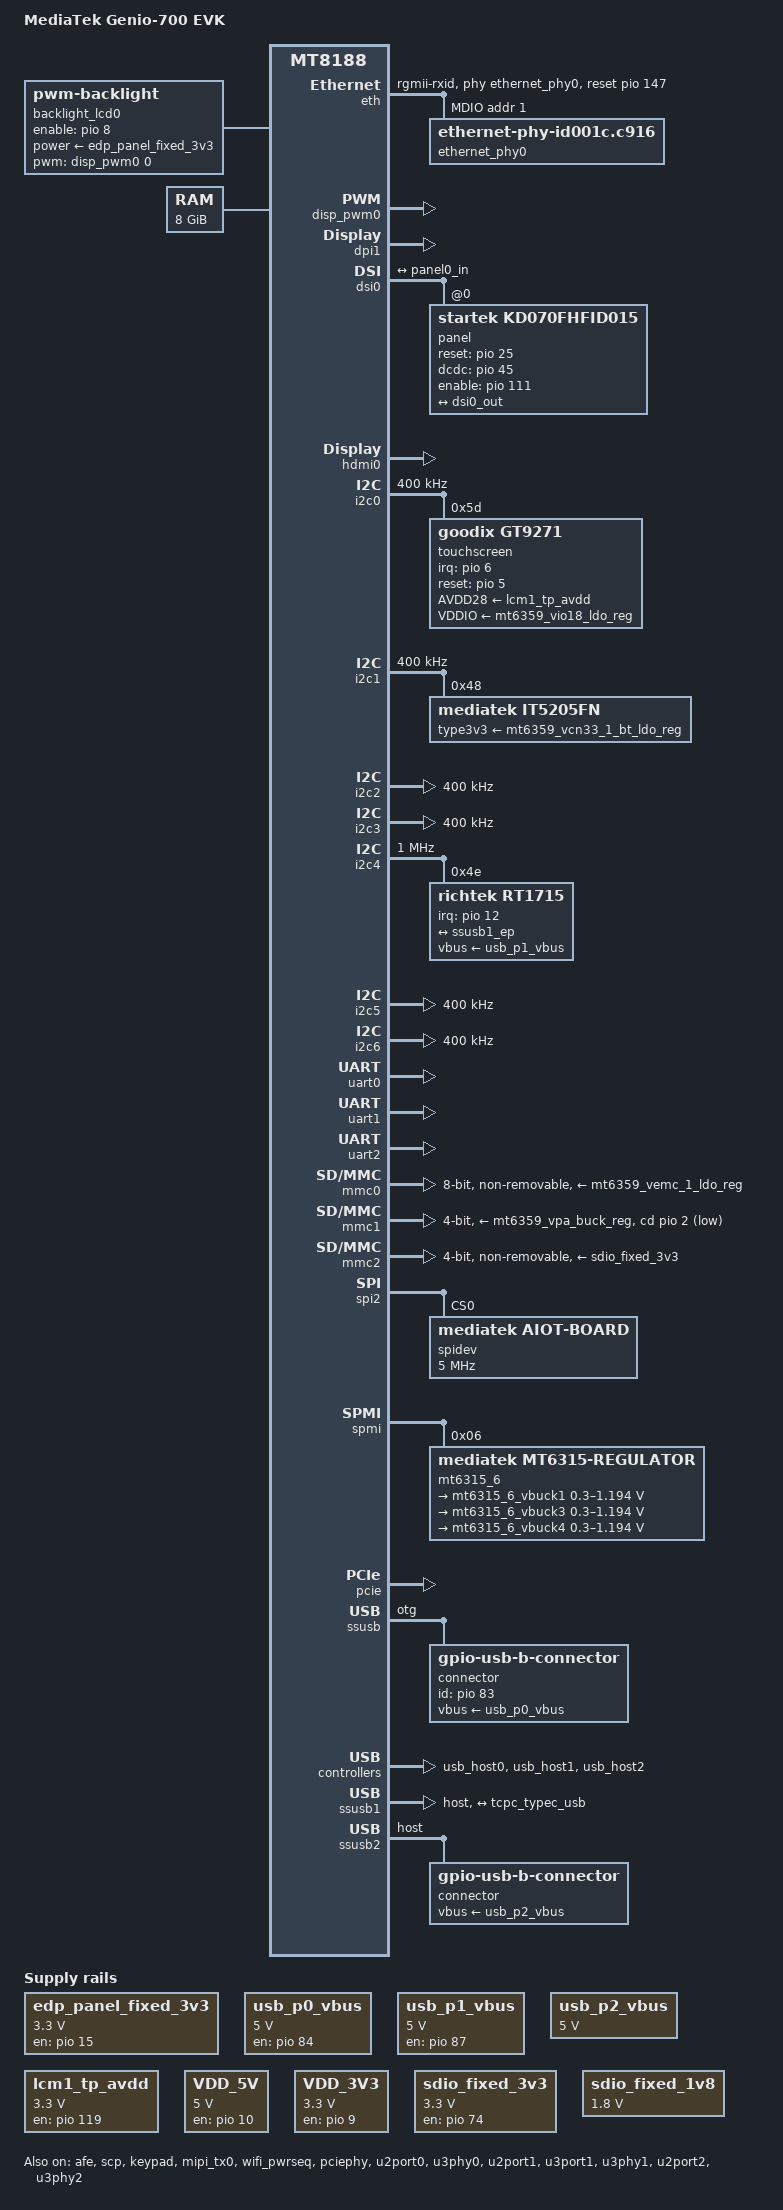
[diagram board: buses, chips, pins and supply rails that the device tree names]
// SPDX-License-Identifier: (GPL-2.0 OR MIT)
/*
 * Copyright (C) 2022 MediaTek Inc.
 * Author: Chris Chen <chris-qj.chen@mediatek.com>
 */
/dts-v1/;
#include "mt8188.dtsi"
#include "mt6359.dtsi"
#include <dt-bindings/gpio/gpio.h>
#include <dt-bindings/input/input.h>
#include <dt-bindings/interrupt-controller/irq.h>
#include <dt-bindings/pinctrl/mediatek,mt8188-pinfunc.h>
#include <dt-bindings/usb/pd.h>

/ {
	model = "MediaTek Genio-700 EVK";
	compatible = "mediatek,mt8390-evk", "mediatek,mt8188";

	aliases {
		serial0 = &uart0;
		dsi0 = &dsi0;
	};

	backlight_lcd0: backlight-lcd0 {
		compatible = "pwm-backlight";
		pwms = <&disp_pwm0 0 500000>;
		power-supply = <&edp_panel_fixed_3v3>;
		enable-gpios = <&pio 8 GPIO_ACTIVE_HIGH>;
		brightness-levels = <0 1023>;
		num-interpolated-steps = <1023>;
		default-brightness-level = <576>;
		default-on;
		enable-active-high;
	};

	chosen {
		stdout-path = "serial0:921600n8";
	};

	edp_panel_fixed_3v3: regulator@0 {
		compatible = "regulator-fixed";
		regulator-name = "edp_panel_3v3";
		regulator-min-microvolt = <3300000>;
		regulator-max-microvolt = <3300000>;
		enable-active-high;
		gpio = <&pio 15 GPIO_ACTIVE_HIGH>;
		pinctrl-names = "default";
		pinctrl-0 = <&edp_panel_3v3_en_pins>;
		regulator-always-on;

		regulator-state-mem {
			regulator-on-in-suspend;
		};
	};

	edp_panel: panel {
		compatible = "auo,g156han03";
		power-supply = <&edp_panel_fixed_3v3>;
		backlight = <&backlight_lcd0>;
		width-mm = <350>;
		height-mm = <216>;
		status = "disabled";

		port {
			panel_in: endpoint {
				remote-endpoint = <&edp_out>;
			};
		};
	};

	memory@40000000 {
		device_type = "memory";
		reg = <0 0x40000000 0x2 0x00000000>;
	};

	reserved-memory {
		#address-cells = <2>;
		#size-cells = <2>;
		ranges;

		apu_reserve_memory: apu-reserve-memory{
			compatible = "shared-dma-pool";
			size = <0 0x1400000>; //20 MB
			alignment = <0 0x10000>;
			reg = <0 0x55000000 0 0x1400000>;
		};

		vpu_reserve_memory: vpu-reserve-memory {
			compatible = "shared-dma-pool";
			size = <0 0x1400000>; //20 MB
			alignment = <0 0x10000>;
			reg = <0 0x57000000 0 0x1400000>;
		};

		/* global autoconfigured region for contiguous allocations */
		linux,cma {
			compatible = "shared-dma-pool";
			reusable;
			size = <0x00000000 0x0c000000>;
			linux,cma-default;
		};

		/* 12 MiB reserved for OP-TEE (BL32)
		 * +-----------------------+ 0x43e0_0000
		 * |      SHMEM 2MiB       |
		 * +-----------------------+ 0x43c0_0000
		 * |        | TA_RAM  8MiB |
		 * + TZDRAM +--------------+ 0x4340_0000
		 * |        | TEE_RAM 2MiB |
		 * +-----------------------+ 0x4320_0000
		 */
		optee_reserved: optee@43200000 {
			no-map;
			reg = <0 0x43200000 0 0x00c00000>;
		};

		scp_mem_reserved: scp-mem-region {
			compatible = "shared-dma-pool";
			reg = <0 0x50000000 0 0x2900000>;
			no-map;
		};

		/* 2 MiB reserved for ARM Trusted Firmware (BL31) */
		bl31_secmon_reserved: secmon@54600000 {
			no-map;
			reg = <0 0x54600000 0x0 0x200000>;
		};
	};

	firmware {
		optee {
			compatible = "linaro,optee-tz";
			method = "smc";
		};
	};

	usb_p0_vbus: usb0-otg-vbus {
		compatible = "regulator-fixed";
		regulator-name = "p0_vbus";
		regulator-min-microvolt = <5000000>;
		regulator-max-microvolt = <5000000>;
		gpio = <&pio 84 GPIO_ACTIVE_HIGH>;
		enable-active-high;
	};

	usb_p1_vbus: usb-p1-vbus {
		compatible = "regulator-fixed";
		regulator-name = "p1_vbus";
		regulator-min-microvolt = <5000000>;
		regulator-max-microvolt = <5000000>;
		gpio = <&pio 87 GPIO_ACTIVE_HIGH>;
		enable-active-high;
	};

	usb_p2_vbus: usb-p2-vbus {
		compatible = "regulator-fixed";
		regulator-name = "p2_vbus";
		regulator-min-microvolt = <5000000>;
		regulator-max-microvolt = <5000000>;
		enable-active-high;
	};

	lcm1_tp_avdd: lcm1-tp-avdd {
		compatible = "regulator-fixed";
		regulator-name = "lcm1-tp-avdd";
		regulator-min-microvolt = <3300000>;
		regulator-max-microvolt = <3300000>;
		gpio = <&pio 119 GPIO_ACTIVE_HIGH>;
		enable-active-high;
	};

	VDD_5V: VDD-5V {
		compatible = "regulator-fixed";
		regulator-name = "VDD-5V";
		regulator-min-microvolt = <5000000>;
		regulator-max-microvolt = <5000000>;
		gpio = <&pio 10 GPIO_ACTIVE_HIGH>;
		enable-active-high;
		regulator-always-on;
	};

	VDD_3V3: VDD-3V3 {
		compatible = "regulator-fixed";
		regulator-name = "VDD-3V3";
		regulator-min-microvolt = <3300000>;
		regulator-max-microvolt = <3300000>;
		gpio = <&pio 9 GPIO_ACTIVE_HIGH>;
		enable-active-high;
		regulator-always-on;
	};

	sdio_fixed_3v3: regulator@2 {
		compatible = "regulator-fixed";
		regulator-name = "sdio_card";
		regulator-min-microvolt = <3300000>;
		regulator-max-microvolt = <3300000>;
		gpio = <&pio 74 0>;
		enable-active-high;
		regulator-always-on;
	};

	sdio_fixed_1v8: regulator@3 {
		compatible = "regulator-fixed";
		regulator-name = "sdio_io";
		regulator-min-microvolt = <1800000>;
		regulator-max-microvolt = <1800000>;
		enable-active-high;
		regulator-always-on;
	};
};

&afe {
	#sound-dai-cells = <0>;
	mediatek,dmic-iir-on;
	mediatek,dmic-clk-mono;
	status = "okay";
};

&eth {
	phy-mode ="rgmii-rxid";
	phy-handle = <&ethernet_phy0>;
	snps,reset-gpio = <&pio 147 GPIO_ACTIVE_HIGH>;
	snps,reset-delay-us = <0 10000 10000>;
	mediatek,tx-delay-ps = <2030>;
	pinctrl-names = "default", "sleep";
	pinctrl-0 = <&eth_default_pins>;
	pinctrl-1 = <&eth_sleep_pins>;
	status = "okay";

	mdio {
		compatible = "snps,dwmac-mdio";
		#address-cells = <1>;
		#size-cells = <0>;
		ethernet_phy0: ethernet-phy@1 {
			compatible = "ethernet-phy-id001c.c916";
			reg = <0x1>;
		};
	};
};

&disp_pwm0 {
	status = "okay";
	pinctrl-names = "default";
	pinctrl-0 = <&disp_pwm0_pin_default>;
};

&dpi1 {
	status = "okay";
};

&dp_intf0 {
	status = "disabled";
	ports {
		port {
			dp_intf0_out: endpoint {
				remote-endpoint = <&edp_in>;
			};
		};
	};
};

&dp_intf1 {
	status = "disabled";
	mediatek,oob-hpd;
	ports {
		port {
			dp_intf1_out: endpoint {
				remote-endpoint = <&dptx_in>;
			};
		};
	};
};

&dp_tx {
	pinctrl-names = "default";
	pinctrl-0 = <&dptx_pin>;
	status = "disabled";

	ports {
		#address-cells = <1>;
		#size-cells = <0>;
		port {
			dptx_in: endpoint {
				remote-endpoint = <&dp_intf1_out>;
			};
		};
	};
};

&dsi0 {
	#address-cells = <1>;
	#size-cells = <0>;
	status = "okay";
	poweron-in-hs-mode = <0>;

	panel@0 {
		compatible = "startek,kd070fhfid015";
		status = "okay";
		reg = <0>;
		pinctrl-names = "default";
		pinctrl-0 = <&panel_pins_default>;
		reset-gpios = <&pio 25 GPIO_ACTIVE_HIGH>;
		dcdc-gpios = <&pio 45 GPIO_ACTIVE_HIGH>;
		enable-gpios = <&pio 111 GPIO_ACTIVE_HIGH>;
		port {
			panel0_in: endpoint {
				remote-endpoint = <&dsi0_out>;
			};
		};
	};

	ports {
		port {
			dsi0_out: endpoint {
				remote-endpoint = <&panel0_in>;
			};
		};
	};
};

&edp_tx {
	pinctrl-names = "default";
	pinctrl-0 = <&edp_pin>;
	status = "disabled";

	ports {
		#address-cells = <1>;
		#size-cells = <0>;

		port@0 {
			reg = <0>;
			edp_in: endpoint {
			remote-endpoint = <&dp_intf0_out>;
			};
		};

		port@1 {
			reg = <1>;
			edp_out: endpoint {
				remote-endpoint = <&panel_in>;
			};
		};
	};
};

&hdmi0 {
	status = "okay";
};

&pio {
	aud_pins_default: audiodefault {
		pins-cmd-dat {
			pinmux = <PINMUX_GPIO101__FUNC_O_AUD_CLK_MOSI>,
				 <PINMUX_GPIO102__FUNC_O_AUD_SYNC_MOSI>,
				 <PINMUX_GPIO103__FUNC_O_AUD_DAT_MOSI0>,
				 <PINMUX_GPIO104__FUNC_O_AUD_DAT_MOSI1>,
				 <PINMUX_GPIO105__FUNC_I0_AUD_DAT_MISO0>,
				 <PINMUX_GPIO106__FUNC_I0_AUD_DAT_MISO1>,
				 <PINMUX_GPIO107__FUNC_B0_I2SIN_MCK>,
				 <PINMUX_GPIO108__FUNC_B0_I2SIN_BCK>,
				 <PINMUX_GPIO109__FUNC_B0_I2SIN_WS>,
				 <PINMUX_GPIO110__FUNC_I0_I2SIN_D0>,
				 <PINMUX_GPIO114__FUNC_O_I2SO2_MCK>,
				 <PINMUX_GPIO115__FUNC_B0_I2SO2_BCK>,
				 <PINMUX_GPIO116__FUNC_B0_I2SO2_WS>,
				 <PINMUX_GPIO117__FUNC_O_I2SO2_D0>,
				 <PINMUX_GPIO118__FUNC_O_I2SO2_D1>,
				 <PINMUX_GPIO125__FUNC_O_DMIC1_CLK>,
				 <PINMUX_GPIO126__FUNC_I0_DMIC1_DAT>,
				 <PINMUX_GPIO128__FUNC_O_DMIC2_CLK>,
				 <PINMUX_GPIO129__FUNC_I0_DMIC2_DAT>,
				 <PINMUX_GPIO121__FUNC_B0_PCM_CLK>,
				 <PINMUX_GPIO122__FUNC_B0_PCM_SYNC>,
				 <PINMUX_GPIO124__FUNC_I0_PCM_DI>;
		};
	};

	disp_pwm0_pin_default: disp-pwm0-pin-default {
		pins1 {
			pinmux = <PINMUX_GPIO29__FUNC_O_DISP_PWM0>;
		};
	};

	edp_panel_3v3_en_pins: edp-panel-3v3-en-pins {
		pins1 {
			pinmux = <PINMUX_GPIO15__FUNC_B_GPIO15>;
			output-high;
		};
	};

	edp_pin: edp-pin-default {
		pins-cmd-dat {
			pinmux = <PINMUX_GPIO17__FUNC_I0_EDP_TX_HPD>;
			bias-pull-up;
		};
	};

	dptx_pin: dptx-pin {
		pins-cmd-dat {
			pinmux = <PINMUX_GPIO46__FUNC_I0_DP_TX_HPD>;
			bias-pull-up;
		};
	};

	eth_default_pins: eth-default-pins {
		pins-txd {
			pinmux = <PINMUX_GPIO131__FUNC_O_GBE_TXD3>,
				 <PINMUX_GPIO132__FUNC_O_GBE_TXD2>,
				 <PINMUX_GPIO133__FUNC_O_GBE_TXD1>,
				 <PINMUX_GPIO134__FUNC_O_GBE_TXD0>;
			drive-strength = <MTK_DRIVE_8mA>;
		};
		pins-cc {
			pinmux = <PINMUX_GPIO139__FUNC_B0_GBE_TXC>,
				 <PINMUX_GPIO142__FUNC_O_GBE_TXEN>,
				 <PINMUX_GPIO141__FUNC_I0_GBE_RXDV>,
				 <PINMUX_GPIO140__FUNC_I0_GBE_RXC>;
			drive-strength = <MTK_DRIVE_8mA>;
		};
		pins-rxd {
			pinmux = <PINMUX_GPIO135__FUNC_I0_GBE_RXD3>,
				 <PINMUX_GPIO136__FUNC_I0_GBE_RXD2>,
				 <PINMUX_GPIO137__FUNC_I0_GBE_RXD1>,
				 <PINMUX_GPIO138__FUNC_I0_GBE_RXD0>;
			drive-strength = <MTK_DRIVE_8mA>;
		};
		pins-mdio {
			pinmux = <PINMUX_GPIO143__FUNC_O_GBE_MDC>,
				 <PINMUX_GPIO144__FUNC_B1_GBE_MDIO>;
			drive-strength = <MTK_DRIVE_8mA>;
			input-enable;
		};
		pins-power {
			pinmux = <PINMUX_GPIO145__FUNC_B_GPIO145>,
				 <PINMUX_GPIO146__FUNC_B_GPIO146>;
			output-high;
		};
	};

	eth_sleep_pins: eth-sleep-pins {
		pins-txd {
			pinmux = <PINMUX_GPIO131__FUNC_B_GPIO131>,
				 <PINMUX_GPIO132__FUNC_B_GPIO132>,
				 <PINMUX_GPIO133__FUNC_B_GPIO133>,
				 <PINMUX_GPIO134__FUNC_B_GPIO134>;
		};
		pins-cc {
			pinmux = <PINMUX_GPIO139__FUNC_B_GPIO139>,
				 <PINMUX_GPIO142__FUNC_B_GPIO142>,
				 <PINMUX_GPIO141__FUNC_B_GPIO141>,
				 <PINMUX_GPIO140__FUNC_B_GPIO140>;
		};
		pins-rxd {
			pinmux = <PINMUX_GPIO135__FUNC_B_GPIO135>,
				 <PINMUX_GPIO136__FUNC_B_GPIO136>,
				 <PINMUX_GPIO137__FUNC_B_GPIO137>,
				 <PINMUX_GPIO138__FUNC_B_GPIO138>;
		};
		pins-mdio {
			pinmux = <PINMUX_GPIO143__FUNC_B_GPIO143>,
				 <PINMUX_GPIO144__FUNC_B_GPIO144>;
			input-disable;
			bias-disable;
		};
	};

	uart0_pins: uart0-pins {
		pins {
			pinmux = <PINMUX_GPIO31__FUNC_O_UTXD0>,
				 <PINMUX_GPIO32__FUNC_I1_URXD0>;
			bias-pull-up;
		};
	};

	uart1_pins: uart1-pins {
		pins {
			pinmux = <PINMUX_GPIO33__FUNC_O_UTXD1>,
				 <PINMUX_GPIO34__FUNC_I1_URXD1>;
			bias-pull-up;
		};
	};

	uart2_pins: uart2-pins {
		pins {
			pinmux = <PINMUX_GPIO35__FUNC_O_UTXD2>,
				 <PINMUX_GPIO36__FUNC_I1_URXD2>;
			bias-pull-up;
		};
	};

	i2c0_pin: i2c0-pin {
		pins-bus {
			pinmux = <PINMUX_GPIO56__FUNC_B1_SDA0>,
				 <PINMUX_GPIO55__FUNC_B1_SCL0>;
			bias-pull-up;
			mediatek,rsel = <MTK_PULL_SET_RSEL_111>;
			mediatek,drive-strength-adv = <7>;
		};
	};

	i2c1_pin: i2c1-pin {
		pins-bus {
			pinmux = <PINMUX_GPIO58__FUNC_B1_SDA1>,
				 <PINMUX_GPIO57__FUNC_B1_SCL1>;
			bias-pull-up;
			mediatek,rsel = <MTK_PULL_SET_RSEL_111>;
			mediatek,drive-strength-adv = <7>;
		};
	};

	i2c2_pin: i2c2-pin {
		pins-bus {
			pinmux = <PINMUX_GPIO60__FUNC_B1_SDA2>,
				 <PINMUX_GPIO59__FUNC_B1_SCL2>;
			bias-pull-up;
			mediatek,rsel = <MTK_PULL_SET_RSEL_111>;
			mediatek,drive-strength-adv = <7>;
		};
	};

	i2c3_pin: i2c3-pin {
		pins-bus {
			pinmux = <PINMUX_GPIO62__FUNC_B1_SDA3>,
				 <PINMUX_GPIO61__FUNC_B1_SCL3>;
			bias-pull-up;
			mediatek,rsel = <MTK_PULL_SET_RSEL_111>;
			mediatek,drive-strength-adv = <7>;
		};
	};

	i2c4_pin: i2c4-pin {
		pins-bus {
			pinmux = <PINMUX_GPIO64__FUNC_B1_SDA4>,
				 <PINMUX_GPIO63__FUNC_B1_SCL4>;
			bias-pull-up;
			mediatek,rsel = <MTK_PULL_SET_RSEL_111>;
			mediatek,drive-strength-adv = <7>;
		};
	};

	i2c5_pin: i2c5-pin {
		pins-bus {
			pinmux = <PINMUX_GPIO66__FUNC_B1_SDA5>,
				 <PINMUX_GPIO65__FUNC_B1_SCL5>;
			bias-pull-up;
			mediatek,rsel = <MTK_PULL_SET_RSEL_111>;
			mediatek,drive-strength-adv = <7>;
		};
	};

	i2c6_pin: i2c6-pin {
		pins-bus {
			pinmux = <PINMUX_GPIO68__FUNC_B1_SDA6>,
				 <PINMUX_GPIO67__FUNC_B1_SCL6>;
			bias-pull-up;
			mediatek,rsel = <MTK_PULL_SET_RSEL_111>;
			mediatek,drive-strength-adv = <7>;
		};
	};

	rt1715_int: rt1715_int_pin {
		pins_cmd0_dat {
			pinmux = <PINMUX_GPIO12__FUNC_B_GPIO12>;
			bias-pull-up;
			input-enable;
		};
	};

	kpd_gpios_def_cfg: keypad-pins-default {
		pins_kp {
			pinmux = <PINMUX_GPIO44__FUNC_B1_KPROW0>,
					<PINMUX_GPIO43__FUNC_B1_KPCOL1>,
					<PINMUX_GPIO42__FUNC_B1_KPCOL0>;
		};
	};

	panel_pins_default: panel-pins-default {
		panel-dcdc {
			pinmux = <PINMUX_GPIO45__FUNC_B_GPIO45>;
			output-low;
		};

		panel-en {
			pinmux = <PINMUX_GPIO111__FUNC_B_GPIO111>;
			output-low;
		};

		panel-rst {
			pinmux = <PINMUX_GPIO25__FUNC_B_GPIO25>;
			output-high;
		};
	};

	mmc0_pins_default: mmc0default {
		pins-cmd-dat {
			pinmux = <PINMUX_GPIO161__FUNC_B1_MSDC0_DAT0>,
				 <PINMUX_GPIO160__FUNC_B1_MSDC0_DAT1>,
				 <PINMUX_GPIO159__FUNC_B1_MSDC0_DAT2>,
				 <PINMUX_GPIO158__FUNC_B1_MSDC0_DAT3>,
				 <PINMUX_GPIO154__FUNC_B1_MSDC0_DAT4>,
				 <PINMUX_GPIO153__FUNC_B1_MSDC0_DAT5>,
				 <PINMUX_GPIO152__FUNC_B1_MSDC0_DAT6>,
				 <PINMUX_GPIO151__FUNC_B1_MSDC0_DAT7>,
				 <PINMUX_GPIO156__FUNC_B1_MSDC0_CMD>;
			input-enable;
			drive-strength = <MTK_DRIVE_6mA>;
			bias-pull-up = <MTK_PUPD_SET_R1R0_01>;
		};

		pins-clk {
			pinmux = <PINMUX_GPIO157__FUNC_B1_MSDC0_CLK>;
			drive-strength = <MTK_DRIVE_6mA>;
			bias-pull-down = <MTK_PUPD_SET_R1R0_10>;
		};

		pins-rst {
			pinmux = <PINMUX_GPIO155__FUNC_O_MSDC0_RSTB>;
			drive-strength = <MTK_DRIVE_6mA>;
			bias-pull-up = <MTK_PUPD_SET_R1R0_01>;
		};
	};

	mmc0_pins_uhs: mmc0uhs{
		pins-cmd-dat {
			pinmux = <PINMUX_GPIO161__FUNC_B1_MSDC0_DAT0>,
				 <PINMUX_GPIO160__FUNC_B1_MSDC0_DAT1>,
				 <PINMUX_GPIO159__FUNC_B1_MSDC0_DAT2>,
				 <PINMUX_GPIO158__FUNC_B1_MSDC0_DAT3>,
				 <PINMUX_GPIO154__FUNC_B1_MSDC0_DAT4>,
				 <PINMUX_GPIO153__FUNC_B1_MSDC0_DAT5>,
				 <PINMUX_GPIO152__FUNC_B1_MSDC0_DAT6>,
				 <PINMUX_GPIO151__FUNC_B1_MSDC0_DAT7>,
				 <PINMUX_GPIO156__FUNC_B1_MSDC0_CMD>;
			input-enable;
			drive-strength = <MTK_DRIVE_8mA>;
			bias-pull-up = <MTK_PUPD_SET_R1R0_01>;
		};

		pins-clk {
			pinmux = <PINMUX_GPIO157__FUNC_B1_MSDC0_CLK>;
			drive-strength = <MTK_DRIVE_8mA>;
			bias-pull-down = <MTK_PUPD_SET_R1R0_10>;
		};

		pins-ds {
			pinmux = <PINMUX_GPIO162__FUNC_B0_MSDC0_DSL>;
			drive-strength = <MTK_DRIVE_8mA>;
			bias-pull-down = <MTK_PUPD_SET_R1R0_10>;
		};

		pins-rst {
			pinmux = <PINMUX_GPIO155__FUNC_O_MSDC0_RSTB>;
			drive-strength = <MTK_DRIVE_8mA>;
			bias-pull-up = <MTK_PUPD_SET_R1R0_01>;
		};
	};

	mmc1_pins_default: mmc1default {
		pins-cmd-dat {
			pinmux = <PINMUX_GPIO163__FUNC_B1_MSDC1_CMD>,
				 <PINMUX_GPIO165__FUNC_B1_MSDC1_DAT0>,
				 <PINMUX_GPIO166__FUNC_B1_MSDC1_DAT1>,
				 <PINMUX_GPIO167__FUNC_B1_MSDC1_DAT2>,
				 <PINMUX_GPIO168__FUNC_B1_MSDC1_DAT3>;
			input-enable;
			drive-strength = <MTK_DRIVE_6mA>;
			bias-pull-up = <MTK_PUPD_SET_R1R0_01>;
		};

		pins-clk {
			pinmux = <PINMUX_GPIO164__FUNC_B1_MSDC1_CLK>;
			drive-strength = <MTK_DRIVE_6mA>;
			bias-pull-down = <MTK_PUPD_SET_R1R0_10>;
		};

		pins-insert {
			pinmux = <PINMUX_GPIO2__FUNC_B_GPIO2>;
			bias-pull-up;
		};
	};

	mmc1_pins_uhs: mmc1uhs {
		pins-cmd-dat {
			pinmux = <PINMUX_GPIO163__FUNC_B1_MSDC1_CMD>,
				 <PINMUX_GPIO165__FUNC_B1_MSDC1_DAT0>,
				 <PINMUX_GPIO166__FUNC_B1_MSDC1_DAT1>,
				 <PINMUX_GPIO167__FUNC_B1_MSDC1_DAT2>,
				 <PINMUX_GPIO168__FUNC_B1_MSDC1_DAT3>;
			input-enable;
			drive-strength = <MTK_DRIVE_6mA>;
			bias-pull-up = <MTK_PUPD_SET_R1R0_01>;
		};

		pins-clk {
			pinmux = <PINMUX_GPIO164__FUNC_B1_MSDC1_CLK>;
			drive-strength = <MTK_DRIVE_6mA>;
			bias-pull-down = <MTK_PUPD_SET_R1R0_10>;
		};
	};

	mmc2_pins_default: mmc2default {
		pins-clk {
			pinmux = <PINMUX_GPIO170__FUNC_B1_MSDC2_CLK>;
			drive-strength = <MTK_DRIVE_4mA>;
			bias-pull-down = <MTK_PUPD_SET_R1R0_10>;
		};

		pins-cmd-dat {
			pinmux = <PINMUX_GPIO169__FUNC_B1_MSDC2_CMD>,
				 <PINMUX_GPIO171__FUNC_B1_MSDC2_DAT0>,
				 <PINMUX_GPIO172__FUNC_B1_MSDC2_DAT1>,
				 <PINMUX_GPIO173__FUNC_B1_MSDC2_DAT2>,
				 <PINMUX_GPIO174__FUNC_B1_MSDC2_DAT3>;
			input-enable;
			drive-strength = <MTK_DRIVE_6mA>;
			bias-pull-up = <MTK_PUPD_SET_R1R0_01>;
		};

		pins-pcm {
			pinmux = <PINMUX_GPIO123__FUNC_O_PCM_DO>;
		};
	};

	mmc2_pins_uhs: mmc2uhs {
		pins-clk {
			pinmux = <PINMUX_GPIO170__FUNC_B1_MSDC2_CLK>;
			drive-strength = <MTK_DRIVE_4mA>;
			bias-pull-down = <MTK_PUPD_SET_R1R0_10>;
		};

		pins-cmd-dat {
			pinmux = <PINMUX_GPIO169__FUNC_B1_MSDC2_CMD>,
				 <PINMUX_GPIO171__FUNC_B1_MSDC2_DAT0>,
				 <PINMUX_GPIO172__FUNC_B1_MSDC2_DAT1>,
				 <PINMUX_GPIO173__FUNC_B1_MSDC2_DAT2>,
				 <PINMUX_GPIO174__FUNC_B1_MSDC2_DAT3>;
			input-enable;
			drive-strength = <MTK_DRIVE_6mA>;
			bias-pull-up = <MTK_PUPD_SET_R1R0_01>;
		};
	};

	mmc2_pins_eint: dat1-eint {
		pins-dat1 {
			pinmux = <PINMUX_GPIO172__FUNC_B_GPIO172>;
			input-enable;
			bias-pull-up = <MTK_PUPD_SET_R1R0_01>;
		};
	};

	mmc2_pins_dat1: sdio-dat1 {
		pins-dat1 {
			pinmux = <PINMUX_GPIO172__FUNC_B1_MSDC2_DAT1>;
			input-enable;
			drive-strength = <MTK_DRIVE_6mA>;
			bias-pull-up = <MTK_PUPD_SET_R1R0_01>;
		};
	};

	wifi_pins_pwrseq: wifipwrseq {
		pins-wifi-enable {
			pinmux = <PINMUX_GPIO127__FUNC_B_GPIO127>;
			output-low;
		};
	};

	spi0_pins: spi0-pins {
		pins-spi {
			pinmux = <PINMUX_GPIO69__FUNC_O_SPIM0_CSB>,
				<PINMUX_GPIO70__FUNC_O_SPIM0_CLK>,
				<PINMUX_GPIO71__FUNC_B0_SPIM0_MOSI>,
				<PINMUX_GPIO72__FUNC_B0_SPIM0_MISO>;
			bias-disable;
		};
	};

	spi1_pins: spi1-pins {
		pins-spi {
			pinmux = <PINMUX_GPIO75__FUNC_O_SPIM1_CSB>,
				<PINMUX_GPIO76__FUNC_O_SPIM1_CLK>,
				<PINMUX_GPIO77__FUNC_B0_SPIM1_MOSI>,
				<PINMUX_GPIO78__FUNC_B0_SPIM1_MISO>;
			bias-disable;
		};
	};

	spi2_pins: spi2-pins {
		pins-spi {
			pinmux = <PINMUX_GPIO79__FUNC_O_SPIM2_CSB>,
				<PINMUX_GPIO80__FUNC_O_SPIM2_CLK>,
				<PINMUX_GPIO81__FUNC_B0_SPIM2_MOSI>,
				<PINMUX_GPIO82__FUNC_B0_SPIM2_MISO>;
			bias-disable;
		};
	};

	pcie_pins_default: pcie-default {
		mux {
			pinmux = <PINMUX_GPIO47__FUNC_I1_WAKEN>,
				 <PINMUX_GPIO48__FUNC_O_PERSTN>,
				 <PINMUX_GPIO49__FUNC_B1_CLKREQN>;
			bias-pull-up;
		};
	};

	usb_default: usbdefault {
		iddig-pin {
			pinmux = <PINMUX_GPIO83__FUNC_B_GPIO83>;
			input-enable;
			bias-pull-up;
		};

		vbus-pins {
			pinmux = <PINMUX_GPIO84__FUNC_O_USB_DRVVBUS>;
			output-high;
		};

		valid-pin {
			pinmux = <PINMUX_GPIO85__FUNC_I0_VBUSVALID>;
			input-enable;
		};
	};

	usb1_default: usbp1default {
		valid_pin {
			pinmux = <PINMUX_GPIO88__FUNC_I0_VBUSVALID_1P>;
			input-enable;
		};

		usb-hub-3v3-en-pin {
			pinmux = <PINMUX_GPIO112__FUNC_B_GPIO112>;
			output-high;
		};
	};

	touch_pins: touchdefault {
		touch_pin_irq: pin-irq {
			pinmux = <PINMUX_GPIO6__FUNC_B_GPIO6>;
			input-enable;
			bias-disable;
		};

		touch_pin_reset: pin-reset {
			pinmux = <PINMUX_GPIO5__FUNC_B_GPIO5>;
			output-high;
		};
	};
};

&i2c0 {
	pinctrl-names = "default";
	pinctrl-0 = <&i2c0_pin>;
	clock-frequency = <400000>;
	status = "okay";
	touchscreen@5d {
		compatible = "goodix,gt9271";
		reg = <0x5d>;
		interrupt-parent = <&pio>;
		interrupts = <6 IRQ_TYPE_EDGE_RISING>;
		irq-gpios = <&pio 6 GPIO_ACTIVE_HIGH>;
		reset-gpios = <&pio 5 GPIO_ACTIVE_HIGH>;
		AVDD28-supply = <&lcm1_tp_avdd>;
		VDDIO-supply = <&mt6359_vio18_ldo_reg>;
		pinctrl-names = "default";
		pinctrl-0 = <&touch_pins>;
	};
};

&i2c1 {
	pinctrl-names = "default";
	pinctrl-0 = <&i2c1_pin>;
	clock-frequency = <400000>;
	status = "okay";

	it5205fn: it5205fn@48 {
		compatible = "mediatek,it5205fn";
		reg = <0x48>;
		type3v3-supply = <&mt6359_vcn33_1_bt_ldo_reg>;
		svid = /bits/ 16 <0xff01>;
		status = "okay";
	};
};

&i2c2 {
	pinctrl-names = "default";
	pinctrl-0 = <&i2c2_pin>;
	clock-frequency = <400000>;
	status = "okay";
};

&i2c3 {
	pinctrl-names = "default";
	pinctrl-0 = <&i2c3_pin>;
	clock-frequency = <400000>;
	status = "okay";
};

&i2c4 {
	pinctrl-names = "default", "default";
	pinctrl-0 = <&i2c4_pin>;
	pinctrl-1 = <&rt1715_int>;
	clock-frequency = <1000000>;
	status = "okay";

	rt1715@4e {
		compatible = "richtek,rt1715";
		reg = <0x4e>;
		interrupts-extended = <&pio 12 IRQ_TYPE_LEVEL_LOW>;
		vbus-supply = <&usb_p1_vbus>;
		status = "okay";

		usb_con: connector {
			compatible = "usb-c-connector";
			label = "USB-C";
			data-role = "dual";
			power-role = "dual";
			try-power-role = "sink";
			source-pdos = <PDO_FIXED(5000, 2000, PDO_FIXED_DUAL_ROLE |
							PDO_FIXED_DATA_SWAP)>;
			sink-pdos = <PDO_FIXED(5000, 2000, PDO_FIXED_DUAL_ROLE |
							PDO_FIXED_DATA_SWAP)>;
			op-sink-microwatt = <10000000>;
			orientation-switch = <&it5205fn>;
			mode-switch = <&it5205fn>;
			displayport = <&dp_intf1>;

			altmodes {
				dp {
					svid = <0x0ff01>;
					vdo = <0x1c1c47>;
				};
			};

			ports {
				#address-cells = <1>;
				#size-cells = <0>;

				port@0 {
					reg = <0>;
					tcpc_typec_usb: endpoint {
							remote-endpoint = <&ssusb1_ep>;
					};
				};
			};
		};
	};
};

&i2c5 {
	pinctrl-names = "default";
	pinctrl-0 = <&i2c5_pin>;
	clock-frequency = <400000>;
	status = "okay";
};

&i2c6 {
	pinctrl-names = "default";
	pinctrl-0 = <&i2c6_pin>;
	clock-frequency = <400000>;
	status = "okay";
};

&pmic {
	interrupt-parent = <&pio>;
	interrupts = <222 IRQ_TYPE_LEVEL_HIGH>;

	pmic_key: pmic-key {
		compatible = "mediatek,mt6359-keys";
		mediatek,long-press-mode = <1>;
		power-off-time-sec = <0>;

		power-key{
			linux,keycodes = <116>;
			wakeup-source;
		};

		home-key{
			linux,keycodes = <114>;
		};
	};
};

&scp {
	memory-region = <&scp_mem_reserved>;
	status = "okay";
};

&keypad {
	mediatek,debounce-us = <32000>;
	mediatek,double-keys;
	keypad,num-rows = <1>;
	keypad,num-columns = <2>;
	linux,keymap =
		<MATRIX_KEY(0x00, 0x00, KEY_VOLUMEDOWN)
		 MATRIX_KEY(0x00, 0x01, KEY_VOLUMEUP)>;
	status = "okay";
	pinctrl-names = "default";
	pinctrl-0 = <&kpd_gpios_def_cfg>;
};

&mt6359codec {
	mediatek,mic-type-0 = <1>; /* ACC */
	mediatek,mic-type-1 = <3>; /* DCC */
};

&mt6359_vbbck_ldo_reg {
	regulator-always-on;
};

&mt6359_vcn33_2_bt_ldo_reg {
	regulator-always-on;
};

&mt6359_vcore_buck_reg {
	regulator-always-on;
};

&mt6359_vgpu11_buck_reg {
	regulator-always-on;
};

&mt6359_vpu_buck_reg {
	regulator-always-on;
};

&mt6359_vrf12_ldo_reg {
	regulator-always-on;
};

&mt6359_vufs_ldo_reg {
	regulator-always-on;
};

&uart0 {
	pinctrl-0 = <&uart0_pins>;
	pinctrl-names = "default";
	status = "okay";
};

&uart1 {
	pinctrl-0 = <&uart1_pins>;
	pinctrl-names = "default";
	status = "okay";
};

&uart2 {
	pinctrl-0 = <&uart2_pins>;
	pinctrl-names = "default";
	status = "okay";
};

&mipi_tx0 {
	status = "okay";
};

&mmc0 {
	status = "okay";
	pinctrl-names = "default", "state_uhs";
	pinctrl-0 = <&mmc0_pins_default>;
	pinctrl-1 = <&mmc0_pins_uhs>;
	bus-width = <8>;
	max-frequency = <200000000>;
	cap-mmc-highspeed;
	mmc-hs200-1_8v;
	mmc-hs400-1_8v;
	supports-cqe;
	cap-mmc-hw-reset;
	no-sdio;
	no-sd;
	hs400-ds-delay = <0x1481b>;
	vmmc-supply = <&mt6359_vemc_1_ldo_reg>;
	vqmmc-supply = <&mt6359_vufs_ldo_reg>;
	non-removable;
};

&mmc1 {
	status = "okay";
	pinctrl-names = "default", "state_uhs";
	pinctrl-0 = <&mmc1_pins_default>;
	pinctrl-1 = <&mmc1_pins_uhs>;
	bus-width = <4>;
	max-frequency = <200000000>;
	cap-sd-highspeed;
	sd-uhs-sdr50;
	sd-uhs-sdr104;
	no-mmc;
	no-sdio;
	cd-gpios = <&pio 2 GPIO_ACTIVE_LOW>;
	vmmc-supply = <&mt6359_vpa_buck_reg>;
	vqmmc-supply = <&mt6359_vsim1_ldo_reg>;
};

&wifi_pwrseq {
	status = "okay";
	pinctrl-names = "default";
	pinctrl-0 = <&wifi_pins_pwrseq>;

	reset-gpios = <&pio 127 1>;
	post-power-on-delay-ms = <200>;
};

&mmc2 {
	status = "okay";
	pinctrl-names = "default", "state_uhs", "state_eint",
					"state_dat1";
	pinctrl-0 = <&mmc2_pins_default>;
	pinctrl-1 = <&mmc2_pins_uhs>;
	pinctrl-2 = <&mmc2_pins_eint>;
	pinctrl-3 = <&mmc2_pins_dat1>;
	eint-gpios = <&pio 172 0>;
	bus-width = <4>;
	max-frequency = <200000000>;
	cap-sd-highspeed;
	sd-uhs-sdr104;
	keep-power-in-suspend;
	enable-sdio-wakeup;
	cap-sdio-async-int;
	cap-sdio-irq;
	no-mmc;
	no-sd;
	non-removable;
	vmmc-supply = <&sdio_fixed_3v3>;
	vqmmc-supply = <&sdio_fixed_1v8>;
	mmc-pwrseq = <&wifi_pwrseq>;
};

&mt6359_vcn18_ldo_reg {
	regulator-always-on;
};

&spi2 {
	pinctrl-0 = <&spi2_pins>;
	pinctrl-names = "default";
	mediatek,pad-select = <0>;
	#address-cells = <1>;
	#size-cells = <0>;
	status = "okay";

	spidev@0 {
		compatible = "mediatek,aiot-board";
		spi-max-frequency = <5000000>;
		reg = <0>;
	};
};

&spmi {
	mt6315_6: mt6315@6 {
		compatible = "mediatek,mt6315-regulator";
		reg = <0x6 0 0xb 1>;

		regulators {
			mt6315_6_vbuck1: vbuck1 {
				regulator-compatible = "vbuck1";
				regulator-name = "Vbcpu";
				regulator-min-microvolt = <300000>;
				regulator-max-microvolt = <1193750>;
				regulator-enable-ramp-delay = <256>;
				regulator-allowed-modes = <0 1 2>;
				regulator-always-on;
				mtk,combined-regulator = <2>;
			};
			mt6315_6_vbuck3: vbuck3 {
				regulator-compatible = "vbuck3";
				regulator-name = "Vdd2";
				regulator-min-microvolt = <300000>;
				regulator-max-microvolt = <1193750>;
				regulator-enable-ramp-delay = <256>;
				regulator-allowed-modes = <0 1 2>;
				regulator-always-on;
			};
			mt6315_6_vbuck4: vbuck4 {
				regulator-compatible = "vbuck4";
				regulator-name = "Vddq";
				regulator-min-microvolt = <300000>;
				regulator-max-microvolt = <1193750>;
				regulator-enable-ramp-delay = <256>;
				regulator-allowed-modes = <0 1 2>;
				regulator-always-on;
			};
		};
	};
};

&pcie {
	pinctrl-names = "default";
	pinctrl-0 = <&pcie_pins_default>;
	status = "okay";
};

&pciephy {
	status = "okay";
};

&ssusb {
	pinctrl-0 = <&usb_default>;
	pinctrl-names = "default";
	maximum-speed = "high-speed";
	usb-role-switch;
	dr_mode = "otg";
	vusb33-supply = <&mt6359_vusb_ldo_reg>;
	status = "okay";
	wakeup-source;

	connector {
		compatible = "gpio-usb-b-connector", "usb-b-connector";
		type = "micro";
		id-gpios = <&pio 83 GPIO_ACTIVE_HIGH>;
		vbus-supply = <&usb_p0_vbus>;
	};
};

&u2port0 {
	status = "okay";
};

&u3phy0 {
	status = "okay";
};

&usb_host0 {
	status = "okay";
	vusb33-supply = <&mt6359_vusb_ldo_reg>;
};

&ssusb1 {
	pinctrl-0 = <&usb1_default>;
	pinctrl-names = "default";
	vusb33-supply = <&mt6359_vusb_ldo_reg>;
	dr_mode = "host";
	mediatek,usb3-drd;
	usb-role-switch;
	status = "okay";
	wakeup-source;

	port {
		ssusb1_ep: endpoint {
			remote-endpoint = <&tcpc_typec_usb>;
		};
	};
};

&u2port1 {
	status = "okay";
};

&u3port1 {
	status = "okay";
};

&u3phy1 {
	status = "okay";
};

&usb_host1 {
	status = "okay";
	vusb33-supply = <&mt6359_vusb_ldo_reg>;
};

&ssusb2 {
	maximum-speed = "high-speed";
	usb-role-switch;
	dr_mode = "host";
	vusb33-supply = <&mt6359_vusb_ldo_reg>;
	status = "okay";
	wakeup-source;

	connector {
		compatible = "gpio-usb-b-connector", "usb-b-connector";
		type = "micro";
		vbus-supply = <&usb_p2_vbus>;
	};
};

&u2port2 {
	status = "okay";
};

&u3phy2 {
	status = "okay";
};

&usb_host2 {
	status = "okay";
	vusb33-supply = <&mt6359_vusb_ldo_reg>;
};

&mfg0 {
	domain-supply = <&mt6359_vproc2_buck_reg>;
};

&mt6359_vmodem_buck_reg {
	regulator-always-on;
};

&mt6359_vsram_md_ldo_reg {
	regulator-always-on;
};

&sound {
	compatible = "mediatek,mt8390-evk";
	model = "mt8390-evk";
	pinctrl-names = "default";
	pinctrl-0 = <&aud_pins_default>;
	audio-routing =
		"Headphone", "Headphone L",
		"Headphone", "Headphone R",
		"AIN1", "Headset Mic",
		"DMIC_INPUT", "AP DMIC",
		"AP DMIC", "MIC_BIAS_0",
		"AP DMIC", "MIC_BIAS_2";
	status = "okay";

	dai-link-0 {
		sound-dai = <&afe>;
		dai-link-name = "ADDA_BE";
		status = "okay";

		codec-0 {
			sound-dai = <&pmic 0>;
		};
	};

	dai-link-1 {
		sound-dai = <&afe>;
		dai-link-name = "ETDM3_OUT_BE";
		status = "okay";

		codec-0 {
			sound-dai = <&hdmi0>;
		};
	};

	dai-link-2 {
		sound-dai = <&afe>;
		dai-link-name = "DPTX_BE";
		status = "disabled";

		codec-0 {
			sound-dai = <&dp_tx>;
		};
	};
};
